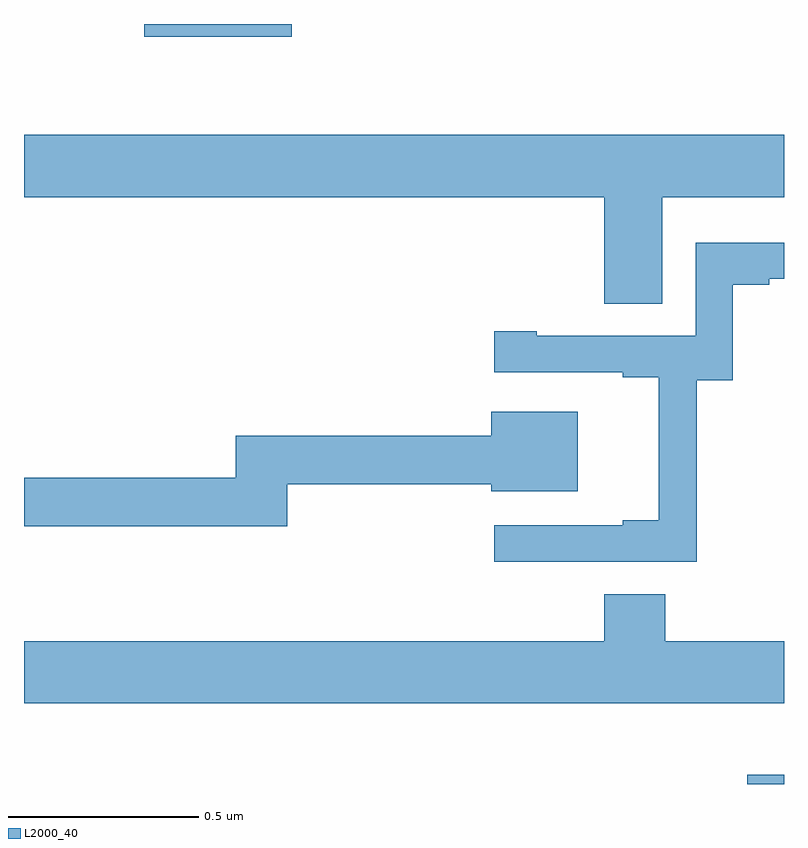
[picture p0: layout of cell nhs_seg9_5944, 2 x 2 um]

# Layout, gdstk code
import gdstk
lib = gdstk.Library(unit=1e-6, precision=1e-09)
def R(c, l, rs):  # rectangles x0, y0, x1, y1
    for r in rs: c.add(gdstk.rectangle(r[:2], r[2:], *l))
def P(c, l, *ps):  # polygons
    for p in ps: c.add(gdstk.Polygon(p, *l))
L2000_40 = (2000, 40)

nhs_seg9_5944 = lib.new_cell('nhs_seg9_5944')
R(nhs_seg9_5944, L2000_40, [(186.903,1237.5,187,1237.524), (185.316,1239.467,185.704,1239.5)])
P(nhs_seg9_5944, L2000_40, [(186.679,1239.044),(187,1239.044),(187,1239.208),(185,1239.208),(185,1239.044),(186.527,1239.044),(186.527,1238.764),(186.679,1238.764)],
  [(186.771,1238.563),(186.865,1238.563),(186.865,1238.814),(186.961,1238.814),(186.961,1238.829),(187,1238.829),(187,1238.925),(186.768,1238.925),(186.768,1238.679),(186.349,1238.679),(186.349,1238.692),(186.237,1238.692),(186.237,1238.583),(186.575,1238.583),(186.575,1238.571),(186.671,1238.571),(186.671,1238.194),(186.575,1238.194),(186.575,1238.181),(186.237,1238.181),(186.237,1238.085),(186.771,1238.085)],
  [(185.693,1238.289),(186.23,1238.289),(186.23,1238.27),(186.457,1238.27),(186.457,1238.479),(186.23,1238.479),(186.23,1238.417),(185.557,1238.417),(185.557,1238.306),(185,1238.306),(185,1238.178),(185.693,1238.178)],
  [(187,1237.876),(186.687,1237.876),(186.687,1238),(186.527,1238),(186.527,1237.876),(185,1237.876),(185,1237.712),(187,1237.712)])

lib.write_gds('nhs_seg9_5944.gds')
